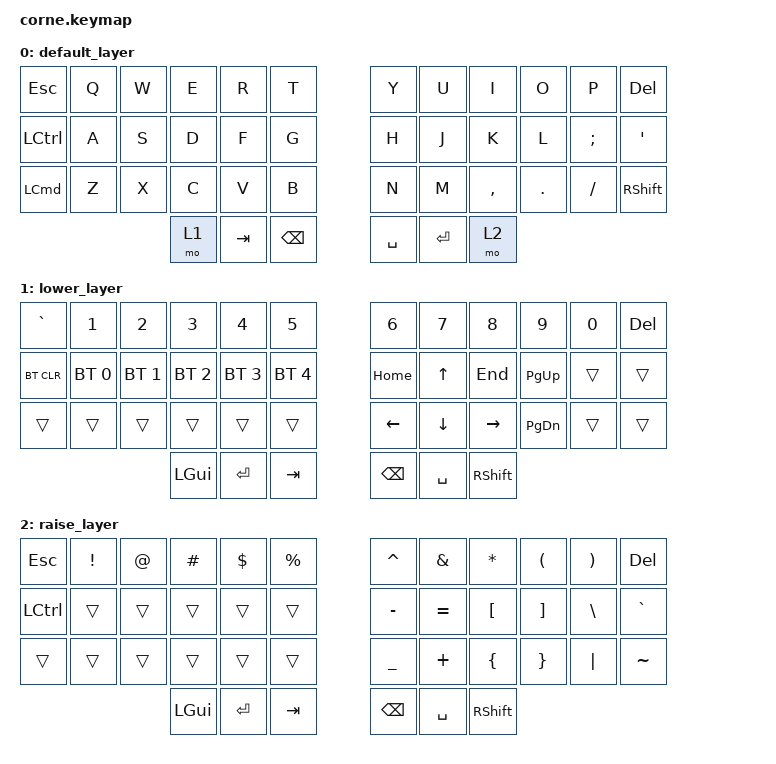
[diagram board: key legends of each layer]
/*
 * Copyright (c) 2020 The ZMK Contributors
 *
 * SPDX-License-Identifier: MIT
 */

#include <behaviors.dtsi>
#include <dt-bindings/zmk/bt.h>
#include <dt-bindings/zmk/keys.h>

/ {
    keymap {
        compatible = "zmk,keymap";

        default_layer {
            // -----------------------------------------------------------------------------------------
            // |  TAB |  Q  |  W  |  E  |  R  |  T  |   |  Y  |  U   |  I  |  O  |  P  | BSPC |
            // | CTRL |  A  |  S  |  D  |  F  |  G  |   |  H  |  J   |  K  |  L  |  ;  |  '   |
            // | SHFT |  Z  |  X  |  C  |  V  |  B  |   |  N  |  M   |  ,  |  .  |  /  | ESC  |
            //                    | GUI | LWR | SPC |   | ENT | RSE  | ALT |

            bindings = <
&kp ESCAPE        &kp Q  &kp W  &kp E  &kp R    &kp T            &kp Y      &kp U      &kp I      &kp O    &kp P     &kp DELETE
&kp LEFT_CONTROL  &kp A  &kp S  &kp D  &kp F    &kp G            &kp H      &kp J      &kp K      &kp L    &kp SEMI  &kp SQT
&kp LCMD          &kp Z  &kp X  &kp C  &kp V    &kp B            &kp N      &kp M      &kp COMMA  &kp DOT  &kp FSLH  &kp RIGHT_SHIFT
                                &mo 1  &kp TAB  &kp BACKSPACE    &kp SPACE  &kp ENTER  &mo 2
            >;
        };

        lower_layer {
            // -----------------------------------------------------------------------------------------
            // |  TAB |  1  |  2  |  3  |  4  |  5  |   |  6  |  7  |  8  |  9  |  0  | BSPC |
            // | BTCLR| BT1 | BT2 | BT3 | BT4 | BT5 |   | LFT | DWN |  UP | RGT |     |      |
            // | SHFT |     |     |     |     |     |   |     |     |     |     |     |      |
            //                    | GUI |     | SPC |   | ENT |     | ALT |

            bindings = <
&kp GRAVE   &kp N1        &kp N2        &kp N3        &kp N4        &kp N5          &kp N6         &kp N7          &kp N8           &kp N9         &kp N0  &kp DEL
&bt BT_CLR  &bt BT_SEL 0  &bt BT_SEL 1  &bt BT_SEL 2  &bt BT_SEL 3  &bt BT_SEL 4    &kp HOME       &kp UP          &kp END          &kp PAGE_UP    &trans  &trans
&trans      &trans        &trans        &trans        &trans        &trans          &kp LEFT       &kp DOWN_ARROW  &kp RIGHT_ARROW  &kp PAGE_DOWN  &trans  &trans
                                        &kp LGUI      &kp ENTER     &kp TAB         &kp BACKSPACE  &kp SPACE       &kp RIGHT_SHIFT
            >;
        };

        raise_layer {
            // -----------------------------------------------------------------------------------------
            // |  TAB |  !  |  @  |  #  |  $  |  %  |   |  ^  |  &  |  *  |  (  |  )  | BSPC |
            // | CTRL |     |     |     |     |     |   |  -  |  =  |  [  |  ]  |  \  |  `   |
            // | SHFT |     |     |     |     |     |   |  _  |  +  |  {  |  }  | "|" |  ~   |
            //                    | GUI |     | SPC |   | ENT |     | ALT |

            bindings = <
&kp ESCAPE  &kp EXCL  &kp AT  &kp HASH  &kp DLLR   &kp PRCNT    &kp CARET      &kp AMPS   &kp ASTRK        &kp LPAR  &kp RPAR  &kp DEL
&kp LCTRL   &trans    &trans  &trans    &trans     &trans       &kp MINUS      &kp EQUAL  &kp LBKT         &kp RBKT  &kp BSLH  &kp GRAVE
&trans      &trans    &trans  &trans    &trans     &trans       &kp UNDER      &kp PLUS   &kp LBRC         &kp RBRC  &kp PIPE  &kp TILDE
                              &kp LGUI  &kp ENTER  &kp TAB      &kp BACKSPACE  &kp SPACE  &kp RIGHT_SHIFT
            >;
        };
    };
};
